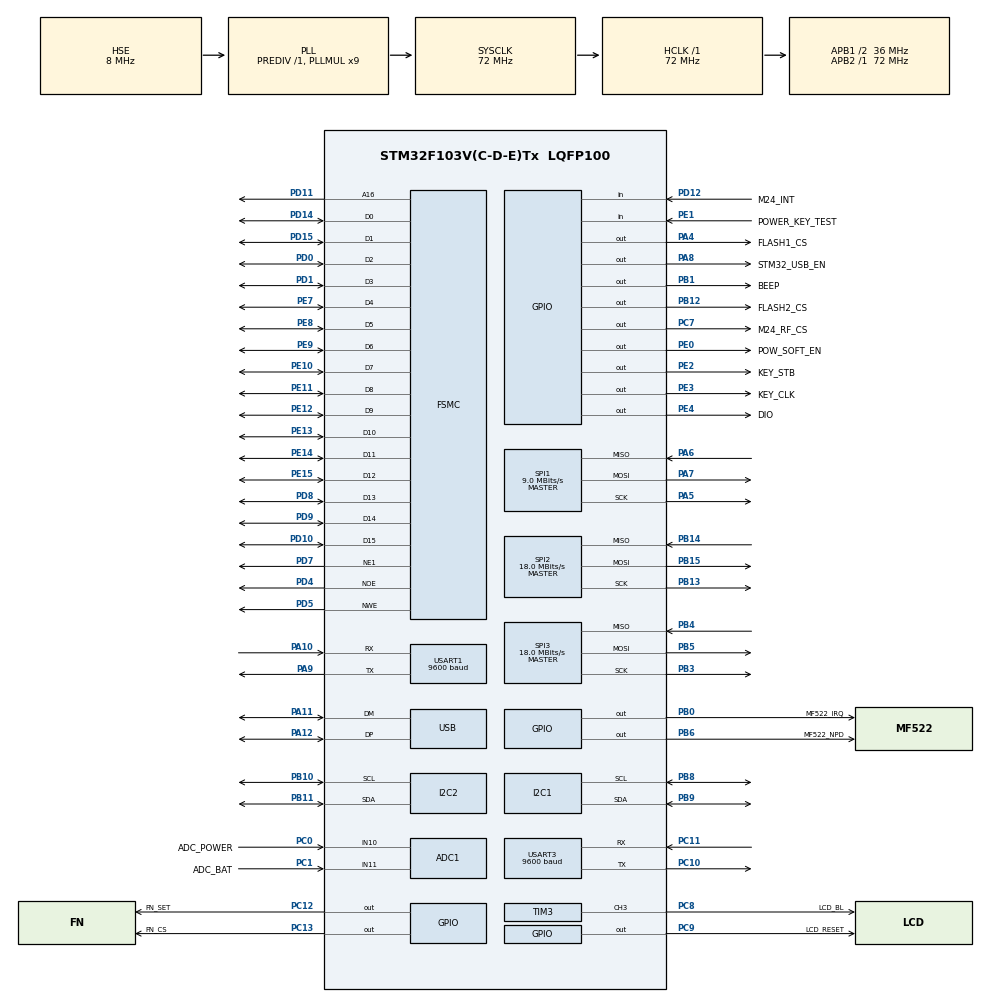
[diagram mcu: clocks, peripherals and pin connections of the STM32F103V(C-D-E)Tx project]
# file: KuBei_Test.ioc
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ADC1.Channel-1\#ChannelRegularConversion=ADC_CHANNEL_10
ADC1.Channel-2\#ChannelRegularConversion=ADC_CHANNEL_11
ADC1.ContinuousConvMode=DISABLE
ADC1.NbrOfConversion=2
ADC1.NbrOfConversionFlag=1
ADC1.Rank-1\#ChannelRegularConversion=1
ADC1.Rank-2\#ChannelRegularConversion=2
ADC1.SamplingTime-1\#ChannelRegularConversion=ADC_SAMPLETIME_71CYCLES_5
ADC1.SamplingTime-2\#ChannelRegularConversion=ADC_SAMPLETIME_71CYCLES_5
ADC1.master=1
Dma.MEMTOMEM.0.Direction=DMA_MEMORY_TO_MEMORY
Dma.MEMTOMEM.0.Instance=DMA1_Channel1
Dma.MEMTOMEM.0.MemDataAlignment=DMA_MDATAALIGN_HALFWORD
Dma.MEMTOMEM.0.MemInc=DMA_MINC_ENABLE
Dma.MEMTOMEM.0.Mode=DMA_NORMAL
Dma.MEMTOMEM.0.PeriphDataAlignment=DMA_PDATAALIGN_HALFWORD
Dma.MEMTOMEM.0.PeriphInc=DMA_PINC_ENABLE
Dma.MEMTOMEM.0.Priority=DMA_PRIORITY_HIGH
Dma.Request0=MEMTOMEM
Dma.Request1=SPI1_TX
Dma.Request2=SPI1_RX
Dma.SPI1_RX.2.Direction=DMA_PERIPH_TO_MEMORY
Dma.SPI1_RX.2.Instance=DMA1_Channel2
Dma.SPI1_RX.2.MemDataAlignment=DMA_MDATAALIGN_BYTE
Dma.SPI1_RX.2.MemInc=DMA_MINC_ENABLE
Dma.SPI1_RX.2.Mode=DMA_NORMAL
Dma.SPI1_RX.2.PeriphDataAlignment=DMA_PDATAALIGN_BYTE
Dma.SPI1_RX.2.PeriphInc=DMA_PINC_DISABLE
Dma.SPI1_RX.2.Priority=DMA_PRIORITY_LOW
Dma.SPI1_TX.1.Direction=DMA_MEMORY_TO_PERIPH
Dma.SPI1_TX.1.Instance=DMA1_Channel3
Dma.SPI1_TX.1.MemDataAlignment=DMA_MDATAALIGN_BYTE
Dma.SPI1_TX.1.MemInc=DMA_MINC_ENABLE
Dma.SPI1_TX.1.Mode=DMA_NORMAL
Dma.SPI1_TX.1.PeriphDataAlignment=DMA_PDATAALIGN_BYTE
Dma.SPI1_TX.1.PeriphInc=DMA_PINC_DISABLE
Dma.SPI1_TX.1.Priority=DMA_PRIORITY_LOW
FSMC.AddressSetupTime1=2
FSMC.BusTurnAroundDuration1=0
FSMC.DataSetupTime1=10
Mcu.Family=STM32F1
Mcu.Name=STM32F103V(C-D-E)Tx
Mcu.Package=LQFP100
NVIC.DMA1_Channel2_IRQn=true\:0\:0\:false\:false\:true\:false\:true
NVIC.DMA1_Channel3_IRQn=true\:0\:0\:false\:false\:true\:false\:true
NVIC.PriorityGroup=NVIC_PRIORITYGROUP_4
NVIC.USART1_IRQn=true\:0\:0\:false\:false\:true\:true\:true
NVIC.USART3_IRQn=true\:0\:0\:false\:false\:true\:true\:true
OSC_IN.Mode=HSE-External-Oscillator
OSC_IN.Signal=RCC_OSC_IN
OSC_OUT.Mode=HSE-External-Oscillator
OSC_OUT.Signal=RCC_OSC_OUT
PA10.Mode=Asynchronous
PA10.Signal=USART1_RX
PA11.Mode=Device
PA11.Signal=USB_DM
PA12.Mode=Device
PA12.Signal=USB_DP
PA13.Mode=Serial_Wire
PA13.Signal=SYS_JTMS-SWDIO
PA14.Mode=Serial_Wire
PA14.Signal=SYS_JTCK-SWCLK
PA4.GPIO_Label=FLASH1_CS
PA4.Signal=GPIO_Output
PA5.Mode=Full_Duplex_Master
PA5.Signal=SPI1_SCK
PA6.Mode=Full_Duplex_Master
PA6.Signal=SPI1_MISO
PA7.Mode=Full_Duplex_Master
PA7.Signal=SPI1_MOSI
PA8.GPIO_Label=STM32_USB_EN
PA8.PinState=GPIO_PIN_RESET
PA8.Signal=GPIO_Output
PA9.Mode=Asynchronous
PA9.Signal=USART1_TX
PB0.GPIO_Label=MF522_IRQ
PB0.Signal=GPIO_Output
PB1.GPIO_Label=BEEP
PB1.Signal=GPIO_Output
PB10.Mode=I2C
PB10.Signal=I2C2_SCL
PB11.Mode=I2C
PB11.Signal=I2C2_SDA
PB12.GPIO_Label=FLASH2_CS
PB12.Signal=GPIO_Output
PB13.Mode=Full_Duplex_Master
PB13.Signal=SPI2_SCK
PB14.Mode=Full_Duplex_Master
PB14.Signal=SPI2_MISO
PB15.Mode=Full_Duplex_Master
PB15.Signal=SPI2_MOSI
PB3.Mode=Full_Duplex_Master
PB3.Signal=SPI3_SCK
PB4.Mode=Full_Duplex_Master
PB4.Signal=SPI3_MISO
PB5.Mode=Full_Duplex_Master
PB5.Signal=SPI3_MOSI
PB6.GPIO_Label=MF522_NPD
PB6.Signal=GPIO_Output
PB8.Mode=I2C
PB8.Signal=I2C1_SCL
PB9.Mode=I2C
PB9.Signal=I2C1_SDA
PC0.GPIO_Label=ADC_POWER
PC0.Signal=ADCx_IN10
PC1.GPIO_Label=ADC_BAT
PC1.Signal=ADCx_IN11
PC10.Mode=Asynchronous
PC10.Signal=USART3_TX
PC11.Mode=Asynchronous
PC11.Signal=USART3_RX
PC12.GPIO_Label=FN_SET
PC12.PinState=GPIO_PIN_SET
PC12.Signal=GPIO_Output
PC13-TAMPER-RTC.GPIO_Label=FN_CS
PC13-TAMPER-RTC.Signal=GPIO_Output
PC7.GPIO_Label=M24_RF_CS
PC7.Signal=GPIO_Output
PC8.GPIO_Label=LCD_BL
PC8.Signal=S_TIM3_CH3
PC9.GPIO_Label=LCD_RESET
PC9.Signal=GPIO_Output
PD0.Mode=16b-d1
PD0.Signal=FSMC_D2
PD1.Mode=16b-d1
PD1.Signal=FSMC_D3
PD10.Mode=16b-d1
PD10.Signal=FSMC_D15
PD11.Mode=A16_1
PD11.Signal=FSMC_A16
PD12.GPIO_Label=M24_INT
PD12.Signal=GPIO_Input
PD14.Mode=16b-d1
PD14.Signal=FSMC_D0
PD15.Mode=16b-d1
PD15.Signal=FSMC_D1
PD4.Mode=Lcd1
PD4.Signal=FSMC_NOE
PD5.Mode=Lcd1
PD5.Signal=FSMC_NWE
PD7.Mode=NorPsramChipSelect1_1
PD7.Signal=FSMC_NE1
PD8.Mode=16b-d1
PD8.Signal=FSMC_D13
PD9.Mode=16b-d1
PD9.Signal=FSMC_D14
PE0.GPIO_Label=POW_SOFT_EN
PE0.PinState=GPIO_PIN_SET
PE0.Signal=GPIO_Output
PE1.GPIO_Label=POWER_KEY_TEST
PE1.GPIO_PuPd=GPIO_PULLDOWN
PE1.Signal=GPIO_Input
PE10.Mode=16b-d1
PE10.Signal=FSMC_D7
PE11.Mode=16b-d1
PE11.Signal=FSMC_D8
PE12.Mode=16b-d1
PE12.Signal=FSMC_D9
PE13.Mode=16b-d1
PE13.Signal=FSMC_D10
PE14.Mode=16b-d1
PE14.Signal=FSMC_D11
PE15.Mode=16b-d1
PE15.Signal=FSMC_D12
PE2.GPIO_Label=KEY_STB
PE2.PinState=GPIO_PIN_SET
PE2.Signal=GPIO_Output
PE3.GPIO_Label=KEY_CLK
PE3.PinState=GPIO_PIN_SET
PE3.Signal=GPIO_Output
PE4.GPIO_Label=DIO
PE4.GPIO_ModeDefaultOutputPP=GPIO_MODE_OUTPUT_OD
PE4.GPIO_PuPd=GPIO_PULLUP
PE4.PinState=GPIO_PIN_SET
PE4.Signal=GPIO_Output
PE7.Mode=16b-d1
PE7.Signal=FSMC_D4
PE8.Mode=16b-d1
PE8.Signal=FSMC_D5
PE9.Mode=16b-d1
PE9.Signal=FSMC_D6
ProjectManager.HeapSize=0x200
ProjectManager.StackSize=0x400
ProjectManager.TargetToolchain=MDK-ARM V5
RCC.ADCPresc=RCC_ADCPCLK2_DIV6
RCC.AHBFreq_Value=72000000
RCC.APB1CLKDivider=RCC_HCLK_DIV2
RCC.APB1Freq_Value=36000000
RCC.APB1TimFreq_Value=72000000
RCC.APB2Freq_Value=72000000
RCC.APB2TimFreq_Value=72000000
RCC.HCLKFreq_Value=72000000
RCC.PLLMUL=RCC_PLL_MUL9
RCC.PLLSourceVirtual=RCC_PLLSOURCE_HSE
RCC.SYSCLKFreq_VALUE=72000000
RCC.SYSCLKSource=RCC_SYSCLKSOURCE_PLLCLK
RCC.USBFreq_Value=48000000
RCC.USBPrescaler=RCC_USBCLKSOURCE_PLL_DIV1_5
SH.ADCx_IN10.0=ADC1_IN10,IN10
SH.ADCx_IN11.0=ADC1_IN11,IN11
SH.S_TIM3_CH3.0=TIM3_CH3,PWM Generation3 CH3
SPI1.BaudRatePrescaler=SPI_BAUDRATEPRESCALER_8
SPI1.CalculateBaudRate=9.0 MBits/s
SPI1.Direction=SPI_DIRECTION_2LINES
SPI1.Mode=SPI_MODE_MASTER
SPI1.VirtualType=VM_MASTER
SPI2.CalculateBaudRate=18.0 MBits/s
SPI2.Direction=SPI_DIRECTION_2LINES
SPI2.Mode=SPI_MODE_MASTER
SPI2.VirtualType=VM_MASTER
SPI3.CalculateBaudRate=18.0 MBits/s
SPI3.Direction=SPI_DIRECTION_2LINES
SPI3.Mode=SPI_MODE_MASTER
SPI3.VirtualType=VM_MASTER
TIM3.Channel-PWM\ Generation3\ CH3=TIM_CHANNEL_3
TIM3.Pulse-PWM\ Generation3\ CH3=32767
USART1.BaudRate=9600
USART1.VirtualMode=VM_ASYNC
USART3.BaudRate=9600
USART3.VirtualMode=VM_ASYNC
VP_TIM3_VS_ClockSourceINT.Mode=Internal
board=custom

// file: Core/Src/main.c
/* USER CODE BEGIN Header */
/**
  ******************************************************************************
  * @file           : main.c
  * @brief          : Main program body
  ******************************************************************************
  * @attention
  *
  * <h2><center>&copy; Copyright (c) 2026 STMicroelectronics.
  * All rights reserved.</center></h2>
  *
  * This software component is licensed by ST under BSD 3-Clause license,
  * the "License"; You may not use this file except in compliance with the
  * License. You may obtain a copy of the License at:
  *                        opensource.org/licenses/BSD-3-Clause
  *
  ******************************************************************************
  */
/* USER CODE END Header */
#include "main.h"
#include "adc.h"
#include "dma.h"
#include "i2c.h"
#include "spi.h"
#include "tim.h"
#include "usart.h"
#include "usb.h"
#include "gpio.h"
#include "fsmc.h"

/* USER CODE BEGIN Includes */
#include "gui.h"              /* 图形库（与硬件解耦，只认 GUI_DispDrv_t） */
#include "disp_ili9327.h"     /* 显示驱动层：ILI9327 + FSMC */
#include "disp_font_flash.h"  /* 字库层：SPI2 字库芯片 -> GUI_Font_t */
#include "power_ctrl.h"
#include "power_adc.h"        /* PC0/PC1 电源电压采集（33K+33K 分压） */
#include "tm1668.h"           /* 按键扫描芯片（PE2/PE3/PE4 软件三线） */
#include "serial_term.h"      /* 串口终端：USART3(9600) 接收显示 */
#include "send_panel.h"       /* 发送面板：发送框 + 软键盘（TM1668 实体键操作） */
#include "rtc_pcf8563.h"      /* PCF8563 RTC（I2C1） */
#include "w25q64.h"           /* SPI1 上的数据 Flash */
#include "font_lib.h"         /* 仅用于诊断打印字库 ID */
#include <stdio.h>
#include <stdarg.h>
#include <string.h>
/* USER CODE END Includes */

/* USER CODE BEGIN PV */
static uint32_t s_lastRefresh = 0;   /* 界面刷新节流（40ms 一轮） */
/* USER CODE END PV */

void SystemClock_Config(void);
/* USER CODE BEGIN PFP */
static void Debug_Printf(const char *fmt, ...);
static void Ui_UpdateClock(uint8_t force);
static void Ui_UpdateDate(uint8_t force);
static void Ui_Init(void);
static void Ui_Update(void);
static void Ui_Task(void);
/* USER CODE END PFP */

/* USER CODE BEGIN 0 */

extern volatile uint32_t g_uart3IrqCnt;   /* USART3 中断计数（诊断用，见 stm32f1xx_it.c） */

#define POWER_OFF_HOLD_MS   3000u   /* 开机键长按多久关机 */

/* ===== 界面布局（320x240 横屏） =====
 * 第 1 行（y=0~15，字库 8x16 字体，无标签）：
 *      左上 = 时间 HH:MM:SS，中间 = 日期 MM-DD，右上 = 电池电压 X.XXV
 * 串口终端：y=16~159（TERM_ROWS 行 x 8px，约 3/5 屏高）
 * 底部 y=160~239：预留 */
#define UI_TOP_Y      0u     /* 第 1 行 y */
#define UI_TIME_X     2u     /* 时间起点（左上角） */
#define UI_REFRESH_MS 40u    /* 界面整体刷新周期 */

/**
  * @brief  通过 USART1(PA9) 输出调试信息（波特率见 usart.c，当前 9600）。
  *         屏幕不亮时，可先用串口助手看初始化状态和读到的驱动 ID。
  */
static void Debug_Printf(const char *fmt, ...)
{
    char buf[128];
    int n;
    va_list ap;

    va_start(ap, fmt);
    n = vsnprintf(buf, sizeof(buf), fmt, ap);
    va_end(ap);
    if (n > 0)
    {
        if (n > (int)sizeof(buf) - 1) n = (int)sizeof(buf) - 1;
        HAL_UART_Transmit(&huart3, (uint8_t *)buf, (uint16_t)n, 100);
    }
}

/**
  * @brief  初始化两片外挂 Flash 并把结果打印到串口
  *         SPI1 -> W25Q64 数据 Flash（自检：擦/写/读/再擦）
  *         SPI2 -> 字库 Flash（读 ID + 试读一个汉字）
  */
static void Flash_Init_And_Report(void)
{
    static uint8_t gbuf[128];      /* 静态：省栈 */
    uint8_t  st;
    uint32_t id;
    uint8_t  flash1_ok;            /* SPI1 W25Q64 初始化结果（仅本函数用） */
    uint8_t  fontlib_ok;           /* SPI2 字库          初始化结果（仅本函数用） */

    /* ---- SPI1：W25Q64 ---- */
    flash1_ok = (W25Q64_Init() == 0u) ? 1u : 0u;
    id = W25Q64_GetID();
    Debug_Printf("[FLASH1] SPI1 W25Q64 JEDEC ID = 0x%06X (%s)\r\n",
                 (unsigned int)id, W25Q64_DescribeID(id));
    if (flash1_ok)
    {
        st = W25Q64_SelfTest();
        Debug_Printf("[FLASH1] self test %s (code=%u, lastErr=%u)\r\n",
                     (st == 0u) ? "PASS" : "FAIL", st, W25Q64_LastError());
        flash1_ok = (st == 0u) ? 1u : 0u;
    }

    /* ---- SPI2：字库（整形后由字库层包装成 GUI_Font_t） ---- */
    st = Disp_FontFlash_Init();
    id = Font_ReadFlashID();
    fontlib_ok = ((st == 0u) && (Disp_FontFlash_IsReady() != 0u)) ? 1u : 0u;
    Debug_Printf("[FLASH2] SPI2 font lib %s, JEDEC ID = 0x%06X\r\n",
                 fontlib_ok ? "OK" : "FAIL", (unsigned int)id);
    if (fontlib_ok)
    {
        /* 试读汉字"字"(GB2312 = 0xD7D6)，24x24 字模 72 字节 */
        st = Font_ReadChinese(0xD7D6u, gbuf, FONT_SIZE_24x24);
        Debug_Printf("[FLASH2] read CJK 0xD7D6 @24x24 -> %s\r\n",
                     (st == FONT_OK) ? "OK" : "FAIL");
    }
}

/**
  * @brief  刷新第 1 行左侧的时间（HH:MM:SS），500ms 节流、数值变化才重画
  * @param  force 1 = 强制重画（上电首次），0 = 内部节流
  */
static void Ui_UpdateClock(uint8_t force)
{
    static uint32_t  s_lastRtcTick = 0;
    static RTC_Time_t s_last = { 0xFFu, 0xFFu, 0xFFu, 0xFFu, 0xFFu, 0xFFu, 0xFFu };
    RTC_Time_t t;
    char buf[12];

    if (force == 0u)
    {
        if ((uint32_t)(HAL_GetTick() - s_lastRtcTick) < 500u) return;
    }
    s_lastRtcTick = HAL_GetTick();

    if (RTC_ReadTime(&t) != 0u) return;                       /* 读失败：保持原显示 */
    if (force == 0u && memcmp(&t, &s_last, sizeof(t)) == 0u) return;

    /* HH:MM:SS（左上角，字库 8x16 字体） */
    buf[0] = (char)('0' + t.hour / 10u);
    buf[1] = (char)('0' + t.hour % 10u);
    buf[2] = ':';
    buf[3] = (char)('0' + t.min / 10u);
    buf[4] = (char)('0' + t.min % 10u);
    buf[5] = ':';
    buf[6] = (char)('0' + t.sec / 10u);
    buf[7] = (char)('0' + t.sec % 10u);
    buf[8] = '\0';

    GUI_SetAsciiFont(&Disp_FontFlash_Ascii8x16);
    GUI_DrawString(UI_TIME_X, UI_TOP_Y, buf, GUI_BLACK, GUI_WHITE, 1);

    s_last = t;
}

/**
  * @brief  刷新第 1 行中间的日期（MM-DD），500ms 节流、日期变化才重画
  * @param  force 1 = 强制重画（RTC 初始化后的首次），0 = 内部节流
  */
static void Ui_UpdateDate(uint8_t force)
{
    static uint32_t s_lastTick = 0;
    static uint16_t s_lastDate = 0xFFFF;        /* 打包的月日，判断是否需要重画 */
    RTC_Time_t t;
    uint16_t    date;
    char        buf[6];

    if (force == 0u)
    {
        if ((uint32_t)(HAL_GetTick() - s_lastTick) < 500u) return;
    }
    s_lastTick = HAL_GetTick();

    if (RTC_ReadTime(&t) != 0u) return;                       /* 读失败：保持原显示 */

    date = (uint16_t)(t.month * 100u + t.day);
    if ((force == 0u) && (date == s_lastDate)) return;

    buf[0] = (char)('0' + t.month / 10u);
    buf[1] = (char)('0' + t.month % 10u);
    buf[2] = '-';
    buf[3] = (char)('0' + t.day / 10u);
    buf[4] = (char)('0' + t.day % 10u);
    buf[5] = '\0';

    /* 第 1 行中间：设置好字体再量宽居中 */
    GUI_SetAsciiFont(&Disp_FontFlash_Ascii8x16);
    GUI_DrawString((int16_t)((GUI_Width() - GUI_TextWidth(buf, 1u)) / 2u), UI_TOP_Y,
                   buf, GUI_BLACK, GUI_WHITE, 1);

    s_lastDate = date;
}

static void Ui_Init(void)
{
    uint16_t id;

    /* 整片 GRAM 刷白：面板可见但从未写过的区域也刷掉，避免露出未初始化的条纹
     * （这是驱动特有扩展，图形库通用接口里没有） */
    Disp_ILI9327_ClearPanel(GUI_WHITE);

    /* 第 1 行：时间先画一次；日期在 RTC_Init 之后由 main() 补画；
     * 电池电压在 Ui_Update 首轮（40ms 后）画出 */
    Ui_UpdateClock(1u);

    /* 发送面板：发送输入框 + 软键盘（y=64 以下） */
    SendPanel_Init();

    id = Disp_ILI9327_ReadID();
    Debug_Printf("[LCD] controller ID(0x04) = 0x%04X\r\n", id);
}

static uint32_t s_lastAdcTick = 0;
static uint16_t s_lastBat = 0xFFFF;
static uint8_t  s_adcDbgCnt = 0;

/**
  * @brief  ADC 自愈：未就绪或采样报错时，最多每 2s 重新校准一次
  *         （复位后第一次校准在电源/背光还没稳定时可能不准，这里补一次）
  */
static void Adc_Maintain(void)
{
    static uint32_t s_recalTick = 0;

    if (PowerAdc_IsReady() != 0u && PowerAdc_LastError() == 0u) return;
    if ((uint32_t)(HAL_GetTick() - s_recalTick) < 2000u) return;

    s_recalTick = HAL_GetTick();
    Debug_Printf("[ADC] not ready (err=%u) -> recalibrate...\r\n",
                 (unsigned int)PowerAdc_LastError());
    if (PowerAdc_Init() == 0u)
    {
        Debug_Printf("[ADC] recalibrate ok\r\n");
        s_lastBat = 0xFFFF;      /* 强制下一轮重画数值 */
    }
}

static void Ui_Update(void)
{
    uint32_t now = HAL_GetTick();
    uint16_t bat;
    char     buf[8];

    Adc_Maintain();          /* ADC 掉链子时自动重校准 */

    /* 电池电压：每 500ms 采一次，变化才重画（第 1 行右上角，X.XXV） */
    if ((uint32_t)(now - s_lastAdcTick) >= 500u)
    {
        s_lastAdcTick = now;
        bat = (uint16_t)PowerAdc_PowerMv();

        /* 调试：每 2 秒打印两个通道的原始值和折算值（读的是同一组缓存，不额外采样） */
        if (++s_adcDbgCnt >= 4u)
        {
            s_adcDbgCnt = 0;
            Debug_Printf("[ADC] raw PC0=%u PC1=%u | %u/%u mV | vdda=%u | err=%u | irq3=%u\r\n",
                         (unsigned int)PowerAdc_ReadRaw(PWR_ADC_CH_POWER),
                         (unsigned int)PowerAdc_ReadRaw(PWR_ADC_CH_BAT),
                         (unsigned int)PowerAdc_PowerMv(),
                         (unsigned int)PowerAdc_BatMv(),
                         (unsigned int)PowerAdc_ReadVddaMv(),
                         (unsigned int)PowerAdc_LastError(),
                         (unsigned int)g_uart3IrqCnt);
        }

        if (bat != s_lastBat)
        {
            s_lastBat = bat;
            /* mV -> "X.XXV"（电池实际 3.7~4.2V，保留两位小数） */
            buf[0] = (char)('0' + bat / 1000u);
            buf[1] = '.';
            buf[2] = (char)('0' + (bat / 100u) % 10u);
            buf[3] = (char)('0' + (bat / 10u) % 10u);
            buf[4] = 'V';
            buf[5] = '\0';

            GUI_SetAsciiFont(&Disp_FontFlash_Ascii8x16);
            GUI_DrawString((int16_t)(GUI_Width() - GUI_TextWidth(buf, 1u) - 2u),
                           UI_TOP_Y, buf, GUI_BLACK, GUI_WHITE, 1);
        }
    }

    /* 第 1 行的时间与日期（各自内部 500ms 节流，变化才重画） */
    Ui_UpdateClock(0u);
    Ui_UpdateDate(0u);
}

/* 屏幕上显示关机提示（底部预留区），然后断电 */
static void Ui_ShowPowerOff(void)
{
    GUI_FillRect(0, (int16_t)(TERM_Y0 + TERM_ROWS * 16u), (int16_t)(GUI_Width() - 1u),
                 (int16_t)(GUI_Height() - 1u), GUI_RED);
    GUI_DrawString(100, 180, "POWER OFF...", GUI_WHITE, GUI_RED, 2);
    GUI_SetBacklight(0);
    HAL_Delay(300);
}

static void Ui_Task(void)
{
    static uint32_t s_keyTick = 0;

    uint32_t now = HAL_GetTick();

    POWER_Poll(now);               /* 按键去抖 + 长按计时（每轮都要调用） */

    /* 软键盘面板：2/4/6/8 移动光标、5 确认、'.' 大小写、'=' 发送、长按 '<' 3 秒关机 */
    if ((uint32_t)(now - s_keyTick) >= 20u)
    {
        s_keyTick = now;
        if (SendPanel_Task() != 0u)
        {
            Debug_Printf("[PWR] long press '<' 3s -> shutdown\r\n");
            Ui_ShowPowerOff();
            POWER_Shutdown();
        }
    }

    /* 长按开机键 3 秒 -> 软件断电 */
    if (POWER_LongPress(POWER_OFF_HOLD_MS))
    {
        Debug_Printf("[PWR] long press %u ms -> POW_SOFT_EN = LOW\r\n",
                     (unsigned int)POWER_PressDuration());
        Ui_ShowPowerOff();
        POWER_Shutdown();          /* 拉低 POW_SOFT_EN 并保持，系统断电 */
    }

    /* 串口终端：显示 USART3 收到的 ASCII（换行/滚动） */
    if (SerialTerm_Task() != 0u)
    {
        Debug_Printf("[PWR] shutdown by UART command\r\n");
        Ui_ShowPowerOff();
        POWER_Shutdown();
    }

    if (now - s_lastRefresh >= UI_REFRESH_MS)
    {
        s_lastRefresh = now;
        Ui_Update();
    }
}

/* USER CODE END 0 */

int main(void)
{
  /* USER CODE BEGIN 1 */
  /* 第一步：接管电源自锁，必须在任何初始化之前（按键松开后靠 PE0 维持供电） */
  POWER_SelfHoldEarly();
  /* USER CODE END 1 */

  /* MCU Configuration--------------------------------------------------------*/

  /* Reset of all peripherals, Initializes the Flash interface and the Systick. */
  HAL_Init();

  /* Configure the system clock */
  SystemClock_Config();

  /* Initialize all configured peripherals */
  MX_GPIO_Init();
  MX_DMA_Init();
  MX_ADC1_Init();
  MX_FSMC_Init();
  MX_I2C1_Init();
  MX_I2C2_Init();
  MX_SPI1_Init();
  MX_SPI2_Init();
  MX_SPI3_Init();
  MX_TIM3_Init();
  MX_USART1_UART_Init();
  MX_USART3_UART_Init();
  MX_USB_PCD_Init();
  /* USER CODE BEGIN 2 */
  POWER_SelfHold();       /* 再次确认 POW_SOFT_EN = 1（CubeMX 里请把它初始电平设为 High） */
  POWER_Init();           /* 按键 PE1 配置成输入 + 内部下拉（CubeMX 生成的是无上下拉） */
  Debug_Printf("\r\n[Boot] POW_SOFT_EN=H, POWER_KEY(raw)=%d (1=按下)\r\n", POWER_KeyRaw());

  /* 绑定显示设备：图形库从这里开始与具体屏幕解耦（换屏只需换这个对象） */
  if (GUI_Init(&Disp_ILI9327) != 0u)
  {
    Debug_Printf("[GUI] display init failed\r\n");
  }
  GUI_SetBacklight(90);  /* 背光（经驱动层转到 PB0 PWM） */

  Flash_Init_And_Report();/* SPI1: W25Q64 数据 Flash + SPI2: 字库 Flash */

  /* 电源电压采集：PC0(充电) / PC1(电池)，均为 33K+33K 分压，实际电压 = ADC 电压 x2 */
  if (PowerAdc_Init() == 0u)
  {
    Debug_Printf("[ADC] init ok (calibrated at reset)\r\n");
  }
  else
  {
    Debug_Printf("[ADC] init failed, err=%u\r\n", (unsigned int)PowerAdc_LastError());
  }

  /* 复位后立刻校准的那一次是在电源/背光刚起来时做的，等电源稳定后再校准一次更准 */
  HAL_Delay(50);
  if (PowerAdc_Calibrate() == 0u)
  {
    Debug_Printf("[ADC] recalibrated after power stable\r\n");
  }
  Debug_Printf("[ADC] BAT=%u mV, CHG=%u mV (div 1/%u), err=%u\r\n",
               (unsigned int)PowerAdc_BatMv(), (unsigned int)PowerAdc_PowerMv(),
               (unsigned int)PWR_ADC_DIV_DEN, (unsigned int)PowerAdc_LastError());

  Ui_Init();              /* 画第一屏（图形库 + 字库字体） */

  /* TM1668 按键扫描（K1/K2 x SEG1~SEG10 = 20 键） */
  if (TM1668_Init() == 0u)
  {
    Debug_Printf("[TM1668] init ok, 20 keys ready\r\n");
  }
  else
  {
    Debug_Printf("[TM1668] init failed\r\n");
  }

  /* 串口终端：USART3(9600) 中断接收，屏底滚动显示 */
  SerialTerm_Init();
  /* 诊断：RxState=2(BUSY_RX) 说明中断接收已挂上；=1(READY) 说明没挂上 */
  Debug_Printf("[UART3] RxState=%d ErrorCode=0x%02X\r\n",
               (int)huart3.RxState, (unsigned int)huart3.ErrorCode);

  /* PCF8563 RTC：首次上电写入基线时间；之后仅当读到的时间小于基线（掉电过）才重设 */
  if (RTC_Init() == 0u)
  {
    RTC_Time_t t;
    if (RTC_ReadTime(&t) == 0u)
    {
      Debug_Printf("[RTC] 20%02u-%02u-%02u %02u:%02u:%02u (weekday %u)\r\n",
                   (unsigned int)t.year, (unsigned int)t.month, (unsigned int)t.day,
                   (unsigned int)t.hour, (unsigned int)t.min, (unsigned int)t.sec,
                   (unsigned int)t.weekday);
    }
  }
  else
  {
    Debug_Printf("[RTC] PCF8563 not found / sync failed (check I2C1 pull-up)\r\n");
  }
  Ui_UpdateDate(1u);       /* RTC 同步完成后画第一屏日期（Ui_Init 时 RTC 还没初始化） */
  Debug_Printf("[LCD] %dx%d init done.\r\n", GUI_Width(), GUI_Height());
  /* USER CODE END 2 */

  /* Infinite loop */
  while (1)
  {

    /* USER CODE BEGIN 3 */
    Ui_Task();            /* 刷新时间/按键状态 + 长按关机检测 */
  }
  /* USER CODE END 3 */
}

void SystemClock_Config(void)
{
  RCC_OscInitTypeDef RCC_OscInitStruct = {0};
  RCC_ClkInitTypeDef RCC_ClkInitStruct = {0};
  RCC_PeriphCLKInitTypeDef PeriphClkInit = {0};

  /** Initializes the RCC Oscillators according to the specified parameters
  * in the RCC_OscInitTypeDef structure.
  */
  RCC_OscInitStruct.OscillatorType = RCC_OSCILLATORTYPE_HSE;
  RCC_OscInitStruct.HSEState = RCC_HSE_ON;
  RCC_OscInitStruct.HSEPredivValue = RCC_HSE_PREDIV_DIV1;
  RCC_OscInitStruct.HSIState = RCC_HSI_ON;
  RCC_OscInitStruct.PLL.PLLState = RCC_PLL_ON;
  RCC_OscInitStruct.PLL.PLLSource = RCC_PLLSOURCE_HSE;
  RCC_OscInitStruct.PLL.PLLMUL = RCC_PLL_MUL9;
  if (HAL_RCC_OscConfig(&RCC_OscInitStruct) != HAL_OK)
  {
    Error_Handler();
  }
  /** Initializes the CPU, AHB and APB buses clocks
  */
  RCC_ClkInitStruct.ClockType = RCC_CLOCKTYPE_HCLK|RCC_CLOCKTYPE_SYSCLK
                              |RCC_CLOCKTYPE_PCLK1|RCC_CLOCKTYPE_PCLK2;
  RCC_ClkInitStruct.SYSCLKSource = RCC_SYSCLKSOURCE_PLLCLK;
  RCC_ClkInitStruct.AHBCLKDivider = RCC_SYSCLK_DIV1;
  RCC_ClkInitStruct.APB1CLKDivider = RCC_HCLK_DIV2;
  RCC_ClkInitStruct.APB2CLKDivider = RCC_HCLK_DIV1;

  if (HAL_RCC_ClockConfig(&RCC_ClkInitStruct, FLASH_LATENCY_2) != HAL_OK)
  {
    Error_Handler();
  }
  PeriphClkInit.PeriphClockSelection = RCC_PERIPHCLK_ADC|RCC_PERIPHCLK_USB;
  PeriphClkInit.AdcClockSelection = RCC_ADCPCLK2_DIV6;
  PeriphClkInit.UsbClockSelection = RCC_USBCLKSOURCE_PLL_DIV1_5;
  if (HAL_RCCEx_PeriphCLKConfig(&PeriphClkInit) != HAL_OK)
  {
    Error_Handler();
  }
}

void Error_Handler(void)
{
  __disable_irq();
  while (1)
  {
  }
}

/************************ (C) COPYRIGHT STMicroelectronics *****END OF FILE****/
